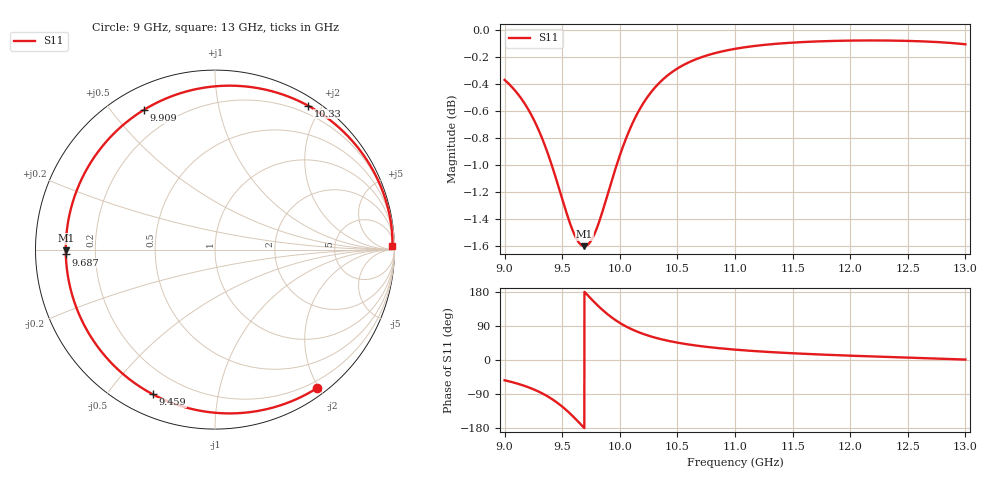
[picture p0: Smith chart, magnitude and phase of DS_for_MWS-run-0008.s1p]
! TOUCHSTONE file generated by CST DESIGN STUDIO
! Date and time: Tue Feb  4 17:04:27 2025
! Project name: C:\Work\MatlabApps\UnitCellOptimizationMatlab\CST\unitcell.cst
! Tree item: Tasks\Sweep1\SPara1\S-Parameters
! Header version: 2024
! Port assignment regex: !\s*Touchstone port\s*([0-9]+)\s*=\s*(CST MWS port|CST DES external port|CST DES block port)\s*(.+)\s* \(\"(.*)\"\)(\s*mode\s*([0-9]+))?.*
! Touchstone port assignment:
! Touchstone port 1 = CST DES external port 1 ("")
# GHz S MA R 50
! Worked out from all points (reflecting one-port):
!   4001 points, 9 GHz to 13 GHz, reference 50 ohm
!   lowest |S11| = -1.6 dB at 9.692 GHz (marker M1), VSWR 10.88, Z = 4.59 - j0.109 ohm
!   phase of S11 starts at -54 deg and turns -305 deg over the sweep
!   S11 on the Smith chart (normalised r, x): 9 GHz: 0.10, -1.98; 9.459 GHz: 0.09, -0.65; 9.687 GHz: 0.09, -0.02; 9.909 GHz: 0.09, +0.61; 10.33 GHz: 0.10, +1.83; 13 GHz: 41, +73
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9  0.9586 -53.5
9.12  0.9466 -63.1
9.237  0.9295 -75.6
9.361  0.9037 -93.8
9.412  0.8906 -103.3
9.459  0.8776 -113.2
9.5  0.8659 -123.0
9.552  0.8519 -136.7
9.605  0.8401 -152.2
9.647  0.834 -165.3
9.687  0.8317 -178.1
9.692  0.8317 -179.7
9.737  0.8341 165.8
9.785  0.8413 150.8
9.847  0.856 132.9
9.909  0.8734 117.1
10  0.8987 97.9
10.071  0.9157 85.8
10.157  0.9323 74.1
10.239  0.9446 65.1
10.328  0.9548 57.2
10.5  0.968 45.8
10.719  0.9777 35.9
11  0.9844 27.4
11.5  0.9897 17.8
12  0.9914 11.4
12.5  0.9911 6.3
13  0.9882 1.2
